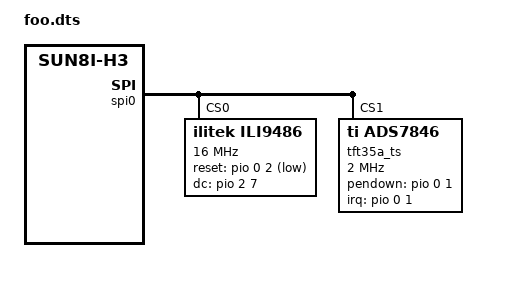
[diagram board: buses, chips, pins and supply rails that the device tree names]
/dts-v1/;
/plugin/;

/ {
	compatible = "allwinner,sun8i-h3";

	fragment@0 {
		target = <&spi0>;
		__overlay__ {
			status = "okay";

			spidev@0{
				status = "disabled";
			};

			spidev@1{
				status = "disabled";
			};
		};
	};

	fragment@1 {
		target = <&pio>;
		__overlay__ {
			// Set up pins
			ili9486_pins: ili9486_pins {
				allwinner,pins = "PA2", "PC7"; // Add DC/RS nad RST pins here
				allwinner,function = "gpio_in";
			};
		ads7846_pins: ads7846_pins {
				pins= "PA1";
				function = "irq";
     			 };
		};
	};

	fragment@2 {
		target = <&spi0>;
		__overlay__ {
			/* needed to avoid dtc warning */
			#address-cells = <1>;
			#size-cells = <0>;

			ili9486: ili9486@0{
				compatible = "ilitek,ili9486";
				reg = <0>;
				pinctrl-names = "default";
				pinctrl-0 = <&ili9486_pins>;

				spi-max-frequency = <16000000>;
				txbuflen = <32768>;
				rotate = <90>;
				bgr = <0>;
				fps = <30>;
				buswidth = <8>;
				regwidth = <16>;
				// Select pins: 1st number = pos. of letter in the alphabet - 1
				//              2nd number = pin number
				//              3rd number = DON'T CHANGE! (1 = ACTIVE_LOW, 0 = ACTIVE_HIGH)
				// Example: PA2 = <&pio 0 2 1>
				//          PC7 = <&pio 2 7 0>
				reset-gpios = <&pio 0 2 1>; // RST pin
				dc-gpios = <&pio 2 7 0>; // DC/RS pin
				debug = <0>;

				init = <0x10000b0 0x00
					0x1000011
					0x20000ff
					0x100003a 0x55
					0x1000036 0x28
					0x10000c2 0x44
					0x10000c5 0x00 0x00 0x00 0x00
					0x10000e0 0x0f 0x1f 0x1c 0x0c 0x0f 0x08 0x48 0x98 0x37 0x0a 0x13 0x04 0x11 0x0d 0x00
					0x10000e1 0x0f 0x32 0x2e 0x0b 0x0d 0x05 0x47 0x75 0x37 0x06 0x10 0x03 0x24 0x20 0x00
					0x10000e2 0x0f 0x32 0x2e 0x0b 0x0d 0x05 0x47 0x75 0x37 0x06 0x10 0x03 0x24 0x20 0x00
					0x1000036 0x28
					0x1000011
					0x1000029>;
			};
			tft35a_ts: tft35a_ts@1 {
				compatible = "ti,ads7846";
				reg = <1>;
				status = "okay";
				pinctrl-names = "default";
				pinctrl-0 = <&ads7846_pins>;
				spi-max-frequency = <2000000>;
				interrupts = <0 1 2>; /* PA1 IRQ_TYPE_EDGE_FALLING */
				interrupt-parent = <&pio>;
				pendown-gpio = <&pio 0 1 0>; /* PA1 */
				ti,x-min = /bits/ 16 <0>;
				ti,y-min = /bits/ 16 <0>;
				ti,x-max = /bits/ 16 <0x0FFF>;
				ti,y-max = /bits/ 16 <0x0FFF>;
				ti,pressure-min = /bits/ 16 <0>;
				ti,pressure-max = /bits/ 16 <0xFFFF>;
				ti,x-plate-ohms = /bits/ 16 <400>;
			};
		};
	};
	__overrides__ {
		speed = <&ili9486>,"spi-max-frquency:0";
		txbuflen = <&ili9486>,"txbuflen:0";
		rotate = <&ili9486>,"rotate:0";
		fps = <&ili9486>,"fps:0";
		bgr = <&ili9486>,"bgr:0";
		debug = <&ili9486>,"debug:0";
		swapxy = <&tft35a_ts>,"ti,swap-xy?";
	};	
};
